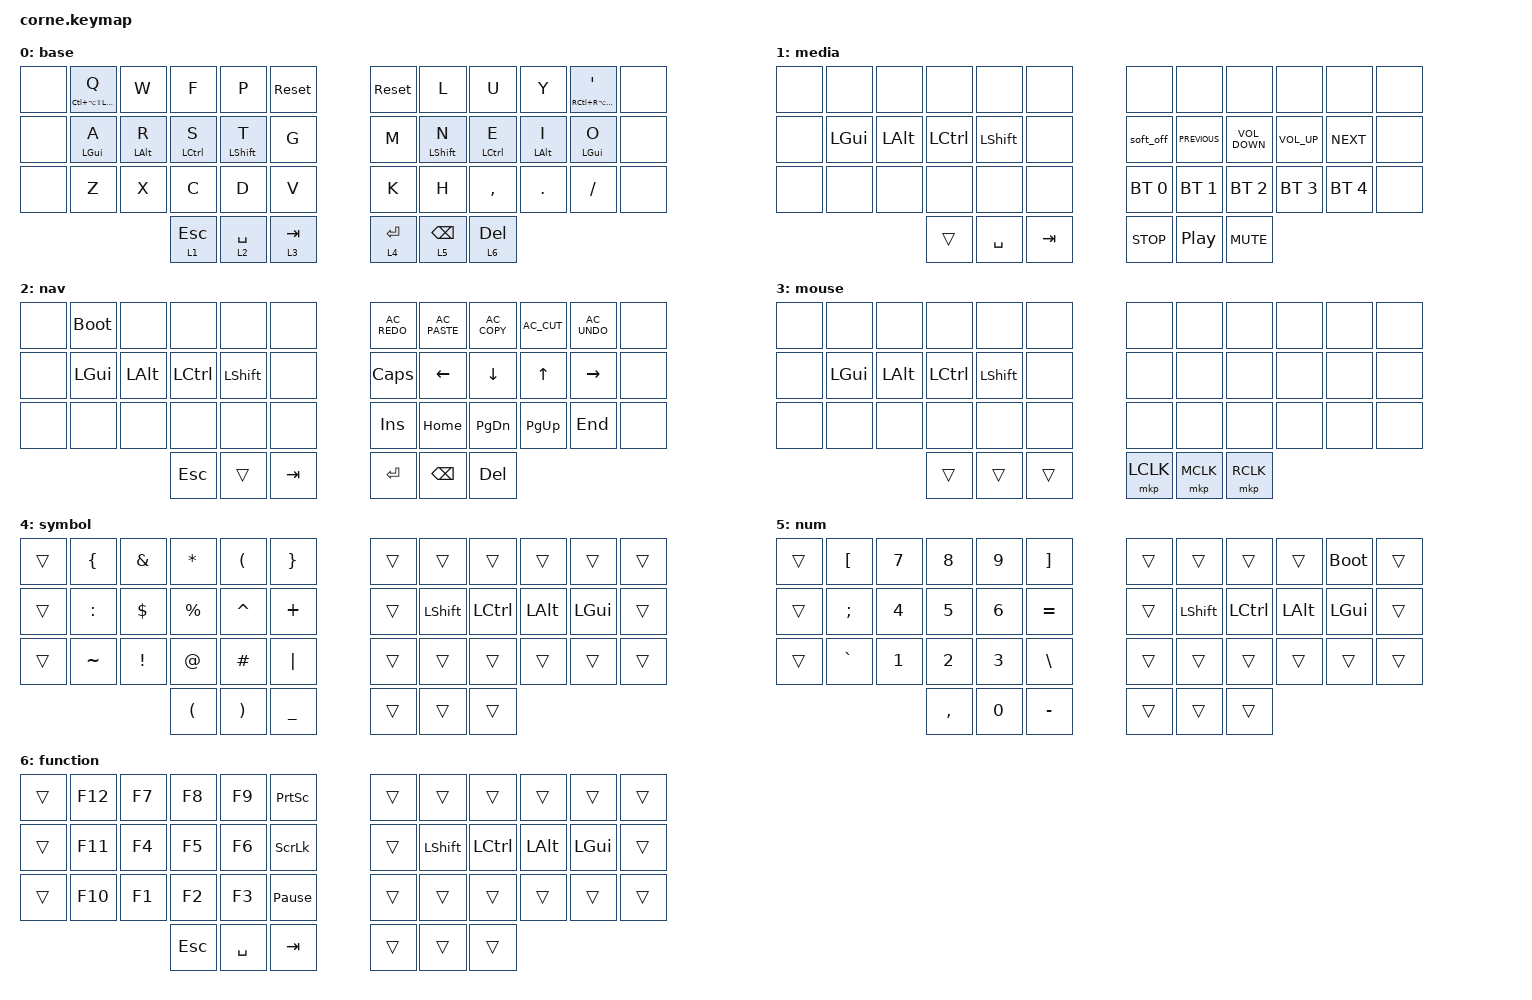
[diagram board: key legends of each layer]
/*
 * Copyright (c) 2020 The ZMK Contributors
 *
 * SPDX-License-Identifier: MIT
 */

#include <behaviors.dtsi>
#include <dt-bindings/zmk/bt.h>
#include <dt-bindings/zmk/keys.h>
#include <dt-bindings/zmk/mouse.h>

&mt { flavor = "tap-preferred"; };

/ {
    keymap {
        compatible = "zmk,keymap";

        base {
            // -----------------------------------------------------------------------------------------
            // |  TAB |  Q  |  W  |  E  |  R  |  T  |   |  Y  |  U   |  I  |  O  |  P  | BKSP |
            // | CTRL |  A  |  S  |  D  |  F  |  G  |   |  H  |  J   |  K  |  L  |  ;  |  '   |
            // | SHFT |  Z  |  X  |  C  |  V  |  B  |   |  N  |  M   |  ,  |  .  |  /  | ESC  |
            //                    | GUI | LWR | SPC |   | ENT | RSE  | ALT |

            bindings = <
&none  &mt LC(LA(LS(LGUI))) Q  &kp W           &kp F         &kp P             &sys_reset    &sys_reset   &kp L            &kp U         &kp Y       &mt RC(RA(RS(RIGHT_GUI))) SINGLE_QUOTE  &none
&none  &mt LEFT_GUI A          &mt LEFT_ALT R  &mt LCTRL S   &mt LEFT_SHIFT T  &kp G         &kp M        &mt LSHFT N      &mt LCTRL E   &mt LALT I  &mt LGUI O                              &none
&none  &kp Z                   &kp X           &kp C         &kp D             &kp V         &kp K        &kp H            &kp COMMA     &kp DOT     &kp FSLH                                &none
                                               &lt 1 ESCAPE  &lt 2 SPACE       &lt 3 TAB     &lt 4 ENTER  &lt 5 BACKSPACE  &lt 6 DELETE
            >;
        };

        media {
            // -----------------------------------------------------------------------------------------
            // |  TAB |  1  |  2  |  3  |  4  |  5  |   |  6  |  7  |  8  |  9  |  0  | BKSP |
            // | BTCLR| BT1 | BT2 | BT3 | BT4 | BT5 |   | LFT | DWN |  UP | RGT |     |      |
            // | SHFT |     |     |     |     |     |   |     |     |     |     |     |      |
            //                    | GUI |     | SPC |   | ENT |     | ALT |

            bindings = <
&none  &none     &none     &none      &none      &none      &none         &none             &none              &none            &none         &none
&none  &kp LGUI  &kp LALT  &kp LCTRL  &kp LSHFT  &none      &soft_off     &kp C_PREVIOUS    &kp C_VOLUME_DOWN  &kp C_VOLUME_UP  &kp C_NEXT    &none
&none  &none     &none     &none      &none      &none      &bt BT_SEL 0  &bt BT_SEL 1      &bt BT_SEL 2       &bt BT_SEL 3     &bt BT_SEL 4  &none
                           &trans     &kp SPACE  &kp TAB    &kp C_STOP    &kp C_PLAY_PAUSE  &kp C_MUTE
            >;
        };

        nav {
            // -----------------------------------------------------------------------------------------
            // |  TAB |  !  |  @  |  #  |  $  |  %  |   |  ^  |  &  |  *  |  (  |  )  | BKSP |
            // | CTRL |     |     |     |     |     |   |  -  |  =  |  [  |  ]  |  \  |  `   |
            // | SHFT |     |     |     |     |     |   |  _  |  +  |  {  |  }  | "|" |  ~   |
            //                    | GUI |     | SPC |   | ENT |     | ALT |

            bindings = <
&none  &bootloader  &none     &none      &none      &none      &kp C_AC_REDO  &kp C_AC_PASTE  &kp C_AC_COPY   &kp C_AC_CUT  &kp C_AC_UNDO    &none
&none  &kp LGUI     &kp LALT  &kp LCTRL  &kp LSHFT  &none      &kp CAPSLOCK   &kp LEFT_ARROW  &kp DOWN_ARROW  &kp UP_ARROW  &kp RIGHT_ARROW  &none
&none  &none        &none     &none      &none      &none      &kp INSERT     &kp HOME        &kp PAGE_DOWN   &kp PAGE_UP   &kp END          &none
                              &kp ESC    &trans     &kp TAB    &kp RET        &kp BSPC        &kp DEL
            >;
        };

        mouse {
            bindings = <
&none  &none     &none     &none      &none      &none     &none      &none      &none      &none  &none  &none
&none  &kp LGUI  &kp LALT  &kp LCTRL  &kp LSHFT  &none     &none      &none      &none      &none  &none  &none
&none  &none     &none     &none      &none      &none     &none      &none      &none      &none  &none  &none
                           &trans     &trans     &trans    &mkp LCLK  &mkp MCLK  &mkp RCLK
            >;
        };

        symbol {
            bindings = <
&trans  &kp LEFT_BRACE  &kp AMPERSAND    &kp ASTERISK          &kp LEFT_PARENTHESIS   &kp RIGHT_BRACE    &trans  &trans     &trans     &trans    &trans    &trans
&trans  &kp COLON       &kp DOLLAR       &kp PERCENT           &kp CARET              &kp PLUS           &trans  &kp LSHFT  &kp LCTRL  &kp LALT  &kp LGUI  &trans
&trans  &kp TILDE       &kp EXCLAMATION  &kp AT_SIGN           &kp HASH               &kp PIPE           &trans  &trans     &trans     &trans    &trans    &trans
                                         &kp LEFT_PARENTHESIS  &kp RIGHT_PARENTHESIS  &kp UNDERSCORE     &trans  &trans     &trans
            >;
        };

        num {
            bindings = <
&trans  &kp LBKT   &kp N7  &kp N8     &kp N9  &kp RBKT     &trans  &trans     &trans     &trans    &bootloader   &trans
&trans  &kp SEMI   &kp N4  &kp N5     &kp N6  &kp EQUAL    &trans  &kp LSHFT  &kp LCTRL  &kp LALT  &kp LEFT_GUI  &trans
&trans  &kp GRAVE  &kp N1  &kp N2     &kp N3  &kp BSLH     &trans  &trans     &trans     &trans    &trans        &trans
                           &kp COMMA  &kp N0  &kp MINUS    &trans  &trans     &trans
            >;
        };

        function {
            bindings = <
&trans  &kp F12  &kp F7  &kp F8   &kp F9     &kp PRINTSCREEN    &trans  &trans     &trans     &trans    &trans    &trans
&trans  &kp F11  &kp F4  &kp F5   &kp F6     &kp SCROLLLOCK     &trans  &kp LSHFT  &kp LCTRL  &kp LALT  &kp LGUI  &trans
&trans  &kp F10  &kp F1  &kp F2   &kp F3     &kp PAUSE_BREAK    &trans  &trans     &trans     &trans    &trans    &trans
                         &kp ESC  &kp SPACE  &kp TAB            &trans  &trans     &trans
            >;
        };
    };
};
